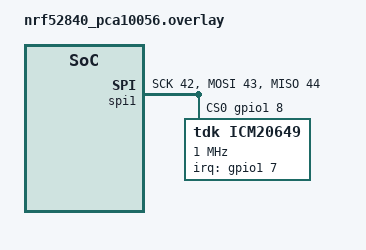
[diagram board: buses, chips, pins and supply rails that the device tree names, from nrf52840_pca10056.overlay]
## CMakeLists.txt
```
# SPDX-License-Identifier: Apache-2.0

cmake_minimum_required(VERSION 3.13.1)
include($ENV{ZEPHYR_BASE}/cmake/app/boilerplate.cmake NO_POLICY_SCOPE)
project(icm20649)

FILE(GLOB app_sources src/*.c)
target_sources(app PRIVATE ${app_sources})
```

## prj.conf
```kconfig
CONFIG_LOG=y
CONFIG_STDOUT_CONSOLE=y
CONFIG_RTIO=y
CONFIG_RTIO_SENSOR=y
CONFIG_RTIO_SENSOR_ICM20649=y
```

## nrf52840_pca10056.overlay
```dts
/* SPDX-License-Identifier: Apache-2.0 */

&spi1 {
    status = "okay";
    sck-pin = <42>;
    miso-pin = <44>;
    mosi-pin = <43>;
    cs-gpios = <&gpio1 8 0>;

    icm20649: icm20649@0 {
        label = "ICM20649";
        compatible = "tdk,icm20649";
        reg = <0>;
        spi-max-frequency = <1000000>;
        irq-gpios = <&gpio1 7 0>;
    };
};
```

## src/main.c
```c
/*
 * Copyright (c) 2020 Tom Burdick <tom.burdick@electromatic.us>
 *
 * SPDX-License-Identifier: Apache-2.0
 */

#include <zephyr.h>
#include <device.h>
#include <sys/printk.h>
#include <sys/__assert.h>
#include <drivers/rtio.h>
#include <drivers/rtio/sensor/icm20649.h>

#define MAX_BLOCK_SIZE 4096
#define MAX_BLOCKS 4

RTIO_MEMPOOL_ALLOCATOR_DEFINE(blockalloc, 64, MAX_BLOCK_SIZE, MAX_BLOCKS, 4);

K_FIFO_DEFINE(icm20649_out_fifo);

volatile static u32_t triggers, ebusy, enomem, eagain;

void trigger_read(void *s1, void *s2, void *s3)
{
	struct device *icm20649_dev = (struct device *)s1;
	int res = 0;

	while (true) {
		res = rtio_trigger_read(icm20649_dev, K_NO_WAIT);
		triggers += 1;
		switch (res) {
		case -EBUSY:
			ebusy += 1;
			break;
		case -ENOMEM:
			enomem += 1;
			break;
		case -EAGAIN:
			eagain += 1;
			break;
		default:
			break;
		}
		if (res != 0) {
			k_yield();
		}
	}
}

#define TRIGGER_READ_STACK_SIZE 1024
K_THREAD_STACK_DEFINE(trigger_read_stack, TRIGGER_READ_STACK_SIZE);
struct k_thread trigger_read_thread;

int main(void)
{
	printk("RTIO ICM20649 Sample\n");

	struct device *icm20649_dev  = device_get_binding("RTIO_SENSOR_ICM20649");
	__ASSERT_NO_MSG(icm20649_dev != NULL);

	/** Maximum range and rate with fifo configuration for icm20649 */
	struct rtio_sensor_icm20649_config icm20649_cfg = {
		.reset = true,
		.accel_config = {
			.enabled = true,
			.self_test = false,
			.low_power_mode = false,
			.filter = ICM20649_ACCEL_LPF_473_0_HZ,
			.scale = ICM20649_30_G,
			.sample_rate_div = 0,

		},
		.gyro_config = {
			.enabled = true,
			.self_test = false,
			.low_power_mode = false,
			.filter = ICM20649_GYRO_LPF_376_5_HZ,
			.scale = ICM20649_4000_DPS,
			.sample_rate_div = 0,

		},
		.temp_config = {
			.enabled = true,
			.filter = ICM20649_TEMP_LPF_217_9_HZ,
		},
		.fifo_enabled = true,
	};

	struct rtio_config config =  {
		.output_config = {
			.allocator = blockalloc,
			.fifo = &icm20649_out_fifo,
			.timeout = K_FOREVER,
			.byte_size = MAX_BLOCK_SIZE
		},
		.driver_config = &icm20649_cfg
	};

	triggers = 0;
	ebusy = 0;
	enomem = 0;
	eagain = 0;

	int res = rtio_configure(icm20649_dev, &config);

	__ASSERT_NO_MSG(res == 0);

	k_tid_t trigger_tid = k_thread_create(&trigger_read_thread,
					      trigger_read_stack,
					      K_THREAD_STACK_SIZEOF(trigger_read_stack),
					      trigger_read,
					      icm20649_dev, NULL, NULL,
					      0, 0, K_NO_WAIT);

	u32_t blocks = 0;
	u32_t samples = 0;
	u32_t bytes = 0;
	u32_t tstamp = k_cycle_get_32();
	u64_t last_print = tstamp;

	while (true) {
		struct rtio_block *block = k_fifo_get(&icm20649_out_fifo, K_FOREVER);
		blocks += 1;
		bytes += rtio_block_used(block);
		samples += rtio_block_used(block)/sizeof(u32_t);

		u32_t now = k_cycle_get_32();
		u64_t last_print_diff = k_cyc_to_ns_floor64(now - last_print);
		if (last_print_diff > 1000000000) {
			u32_t tdiff = last_print_diff/1000000;
			printk("time delta %d ms, %d blocks, %d bytes, %d samples, \n", tdiff, blocks, bytes, samples);
			printk("read triggers %d, ebusy %d, enomem %d, eagain %d\n", triggers, ebusy, enomem, eagain);
			last_print = now;
			blocks = 0;
			samples = 0;
			bytes = 0;
		}

		/*
		for (size_t i = 0; i < rtio_block_used(block); i += sizeof(u32_t)) {
			printk("%d", *((u32_t *)(block->data + i)));
			if ((i % 128 == 0 && i > 0) || i + sizeof(u32_t) >= rtio_block_used(block)) {
				printk("\n\t");
			} else {
				printk(", ");
			}
		}
		*/
		rtio_block_free(blockalloc, block);
		tstamp = now;
	}
}
```
